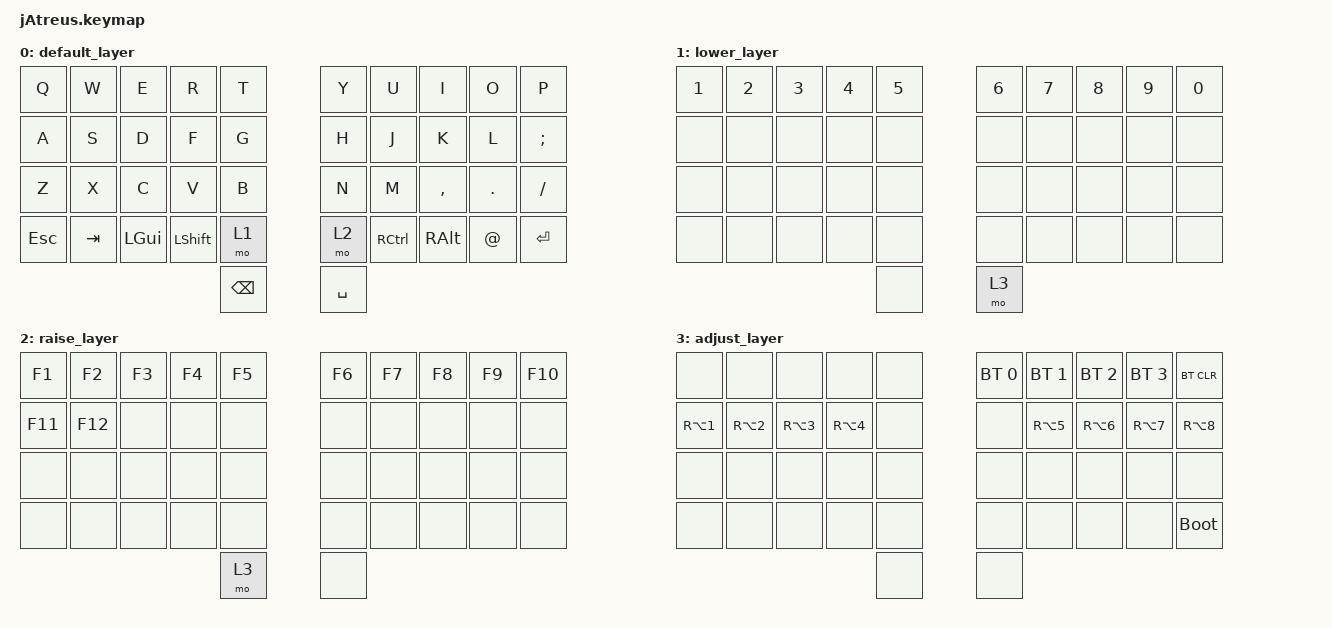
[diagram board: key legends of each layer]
#include <behaviors.dtsi>
#include <dt-bindings/zmk/keys.h>
#include <dt-bindings/zmk/bt.h>

/ {
        behaviors {
            bhm: balanced_homerow_mods {
                compatible = "zmk,behavior-hold-tap";
                label = "HOMEROW_MODS";
                #binding-cells = <2>;
                tapping-term-ms = <160>;
                quick-tap-ms = <0>;
                flavor = "balanced";
                bindings = <&kp>, <&kp>;
            };
        };

        keymap {
                compatible = "zmk,keymap";

                default_layer {
// ------------------------------------------------------------------
// |  Q  |  W  |  E  |  R  |  T  |   |  Y  |  U  |  I  |  O  |  P  |
// |  A  |  S  |  D  |  F  |  G  |   |  H  |  J  |  K  |  L  |  ;  |
// |  Z  |  X  |  C  |  V  |  B  |   |  N  |  M  |  ,  |  .  |  /  |
// | ESC | TAB | LGUI|LSHFT| LWL |   | RSL | CTRL| ALT |  @  |ENTER|
//                           | BSP | SP |
                        bindings = <
  &kp Q         &kp W        &kp E       &kp R       &kp T      &kp Y      &kp U       &kp I       &kp O        &kp P   
  &kp A         &kp S        &kp D       &kp F       &kp G      &kp H      &kp J       &kp K       &kp L        &kp SEMI
  &kp Z         &kp X        &kp C       &kp V       &kp B      &kp N      &kp M       &kp COMMA   &kp DOT      &kp FSLH
  &kp ESC       &kp TAB      &kp LGUI    &kp LSHFT   &mo 1      &mo 2      &kp RCTRL   &kp RALT    &kp AT       &kp ENTER
                                                     &kp BSPC   &kp SPACE
                        >;
                };

                lower_layer {
// ------------------------------------------------------------------
// |  1  |  2  |  3  |  4  |  5  |   |  6  |  7  |  8  |  9  |  0  |
// |     |     |     |     |     |   |  \  | CPY |  {  |  }  |  "  |
// |SHFT |     |     |     |     |   | END | PST |  [  |  ]  | RSHF|
// | ESC |     |     |     |     |   | ADJ | DEL |  _  |     |     |
//                           |     |    |
                        bindings = <
  &kp N1    &kp N2 &kp N3 &kp N4 &kp N5   &kp N6    &kp N7    &kp N8   &kp N9   &kp N0   
  &none     &none  &none  &none  &none    &none     &none     &none    &none    &none
  &none     &none  &none  &none  &none    &none     &none     &none    &none    &none
  &none     &none  &none  &none  &none    &none     &none     &none    &none    &none
                                   &none &mo 3
                        >;
                };

                raise_layer {
// ------------------------------------------------------------------
// |  F1  |  F2  |  F3  |  F4  |  F5  |   |  F6  |  F7  |  F8  |  F9  |  F10  |
// |  F11 |  F12 |      |      |      |   |  \   | CPY  |  {   |  }   |  "    |
// | SHFT |      |      |      |      |   | END  | PST  |  [   |  ]   | RSHF  |
// | ESC  |      |      |      |      |   | ADJ  | DEL  |  _   |      |       |
//                                |     |    |
                        bindings = <
  &kp F1    &kp F2   &kp F3 &kp F4 &kp F5   &kp F6    &kp F7    &kp F8   &kp F9   &kp F10   
  &kp F11   &kp F12  &none  &none  &none    &none     &none     &none    &none    &none
  &none     &none    &none  &none  &none    &none     &none     &none    &none    &none
  &none     &none    &none  &none  &none    &none     &none     &none    &none    &none
                                     &mo 3 &none
                        >;
                };

                adjust_layer {
                        bindings = <
  &none       &none      &none      &none      &none   &bt BT_SEL 0 &bt BT_SEL 1 &bt BT_SEL 2 &bt BT_SEL 3 &bt BT_CLR  
  &kp RA(N1)  &kp RA(N2) &kp RA(N3) &kp RA(N4) &none   &none        &kp RA(N5)   &kp RA(N6)   &kp RA(N7)   &kp RA(N8) 
  &none       &none      &none      &none      &none   &none        &none        &none        &none        &none
  &none       &none      &none      &none      &none   &none        &none        &none        &none        &bootloader
                                               &none   &none
                        >;
                };
        };
};
